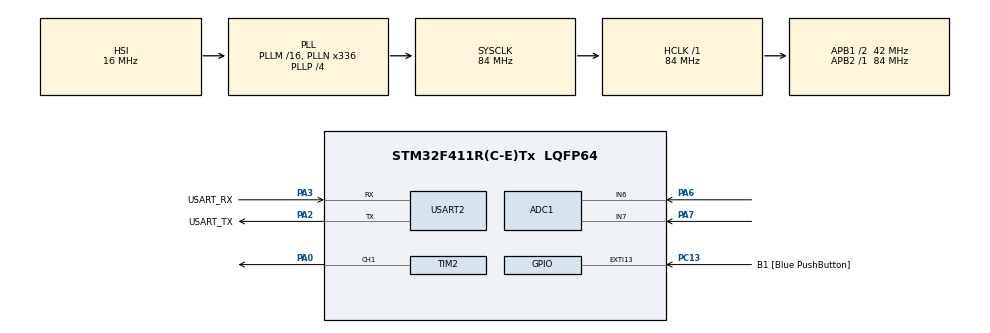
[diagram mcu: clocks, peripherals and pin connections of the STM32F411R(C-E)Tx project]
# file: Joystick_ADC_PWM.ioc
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ADC1.Channel-0\#ChannelRegularConversion=ADC_CHANNEL_6
ADC1.Channel-1\#ChannelRegularConversion=ADC_CHANNEL_7
ADC1.DiscontinuousConvMode=ENABLE
ADC1.NbrOfConversion=2
ADC1.NbrOfConversionFlag=1
ADC1.Rank-0\#ChannelRegularConversion=1
ADC1.Rank-1\#ChannelRegularConversion=2
ADC1.SamplingTime-0\#ChannelRegularConversion=ADC_SAMPLETIME_144CYCLES
ADC1.SamplingTime-1\#ChannelRegularConversion=ADC_SAMPLETIME_144CYCLES
ADC1.ScanConvMode=ENABLE
ADC1.master=1
Mcu.Family=STM32F4
Mcu.Name=STM32F411R(C-E)Tx
Mcu.Package=LQFP64
NVIC.PriorityGroup=NVIC_PRIORITYGROUP_0
NVIC.TIM2_IRQn=true\:0\:0\:false\:false\:true\:true\:true\:true
PA0-WKUP.Signal=S_TIM2_CH1_ETR
PA13.GPIO_Label=TMS
PA13.Signal=SYS_JTMS-SWDIO
PA14.GPIO_Label=TCK
PA14.Signal=SYS_JTCK-SWCLK
PA2.GPIO_Label=USART_TX
PA2.Mode=Asynchronous
PA2.Signal=USART2_TX
PA3.GPIO_Label=USART_RX
PA3.Mode=Asynchronous
PA3.Signal=USART2_RX
PA6.Signal=ADCx_IN6
PA7.Signal=ADCx_IN7
PB3.GPIO_Label=SWO
PB3.Signal=SYS_JTDO-SWO
PC13-ANTI_TAMP.GPIO_Label=B1 [Blue PushButton]
PC13-ANTI_TAMP.GPIO_ModeDefaultEXTI=GPIO_MODE_IT_FALLING
PC13-ANTI_TAMP.Signal=GPXTI13
PC14-OSC32_IN.Signal=RCC_OSC32_IN
PC15-OSC32_OUT.Signal=RCC_OSC32_OUT
PH0\ -\ OSC_IN.Signal=RCC_OSC_IN
PH1\ -\ OSC_OUT.Signal=RCC_OSC_OUT
ProjectManager.HeapSize=0x200
ProjectManager.StackSize=0x400
ProjectManager.TargetToolchain=STM32CubeIDE
RCC.48MHZClocksFreq_Value=84000000
RCC.AHBFreq_Value=84000000
RCC.APB1CLKDivider=RCC_HCLK_DIV2
RCC.APB1Freq_Value=42000000
RCC.APB1TimFreq_Value=84000000
RCC.APB2Freq_Value=84000000
RCC.APB2TimFreq_Value=84000000
RCC.CortexFreq_Value=84000000
RCC.FLatency-AdvancedSettings=FLASH_LATENCY_2
RCC.HCLKFreq_Value=84000000
RCC.HSE_VALUE=8000000
RCC.HSI_VALUE=16000000
RCC.LSE_VALUE=32768
RCC.PLLN=336
RCC.PLLP=RCC_PLLP_DIV4
RCC.SYSCLKFreq_VALUE=84000000
RCC.SYSCLKSource=RCC_SYSCLKSOURCE_PLLCLK
RCC.VCOOutputFreq_Value=336000000
SH.ADCx_IN6.0=ADC1_IN6,IN6
SH.ADCx_IN7.0=ADC1_IN7,IN7
SH.S_TIM2_CH1_ETR.0=TIM2_CH1,PWM Generation1 CH1
TIM2.Channel-PWM\ Generation1\ CH1=TIM_CHANNEL_1
TIM2.Period=4095
USART2.VirtualMode=VM_ASYNC
VP_TIM2_VS_ClockSourceINT.Mode=Internal
board=NUCLEO-F411RE

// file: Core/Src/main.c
/* USER CODE BEGIN Header */
/**
  ******************************************************************************
  * @file           : main.c
  * @brief          : Main program body
  ******************************************************************************
  * @attention
  *
  * Copyright (c) 2022 STMicroelectronics.
  * All rights reserved.
  *
  * This software is licensed under terms that can be found in the LICENSE file
  * in the root directory of this software component.
  * If no LICENSE file comes with this software, it is provided AS-IS.
  *
  ******************************************************************************
  */
/* USER CODE END Header */
#include "main.h"

/* USER CODE BEGIN Includes */
#include <stdio.h>
/* USER CODE END Includes */

ADC_HandleTypeDef hadc1;

TIM_HandleTypeDef htim2;

UART_HandleTypeDef huart2;

void SystemClock_Config(void);
static void MX_GPIO_Init(void);
static void MX_ADC1_Init(void);
static void MX_TIM2_Init(void);
static void MX_USART2_UART_Init(void);
/* USER CODE BEGIN PFP */
#ifdef __GNUC__
#define PUTCHAR_PROTOTYPE int __io_putchar(int ch)
#else
#define PUTCHAR_PROTOTYPE int fputc(int ch, FILE *f)
#endif

/**
 * @brief Retargets the C library printf function to the USART
 * @param None
 * @retval None
 */
PUTCHAR_PROTOTYPE{
	if (ch == '\n') HAL_UART_Transmit(&huart2, (uint8_t*)"\r", 1, 0xFFFF);
	HAL_UART_Transmit(&huart2, (uint8_t*)&ch, 1, 0xFFFF);
	return ch;
}
/* USER CODE END PFP */

int main(void)
{

  /* MCU Configuration--------------------------------------------------------*/

  /* Reset of all peripherals, Initializes the Flash interface and the Systick. */
  HAL_Init();

  /* USER CODE BEGIN Init */
  uint16_t JoyStick_XY[2] = {0,};
  /* USER CODE END Init */

  /* Configure the system clock */
  SystemClock_Config();

  /* Initialize all configured peripherals */
  MX_GPIO_Init();
  MX_ADC1_Init();
  MX_TIM2_Init();
  MX_USART2_UART_Init();
  /* USER CODE BEGIN 2 */
  // PWM Start
  HAL_TIM_PWM_Start(&htim2, TIM_CHANNEL_1);
  /* USER CODE END 2 */

  /* Infinite loop */
  while (1)
  {

    /* USER CODE BEGIN 3 */

		// ADC regular channel -> Joystick X value
		HAL_ADC_Start(&hadc1);
		HAL_ADC_PollForConversion(&hadc1, HAL_MAX_DELAY);
		JoyStick_XY[0] = HAL_ADC_GetValue(&hadc1);

		// ADC regular channel -> Joystick Y value
		HAL_ADC_Start(&hadc1);
		HAL_ADC_PollForConversion(&hadc1, HAL_MAX_DELAY);
		JoyStick_XY[1] = HAL_ADC_GetValue(&hadc1);

		// Joystick X value -> Motor PWM control
		TIM2->CCR1 = JoyStick_XY[0];

		// print value
		printf("%d, %d\r\n", JoyStick_XY[0], JoyStick_XY[1]);
		HAL_Delay(10);

  }
  /* USER CODE END 3 */
}

void SystemClock_Config(void)
{
  RCC_OscInitTypeDef RCC_OscInitStruct = {0};
  RCC_ClkInitTypeDef RCC_ClkInitStruct = {0};

  /** Configure the main internal regulator output voltage
  */
  __HAL_RCC_PWR_CLK_ENABLE();
  __HAL_PWR_VOLTAGESCALING_CONFIG(PWR_REGULATOR_VOLTAGE_SCALE1);

  /** Initializes the RCC Oscillators according to the specified parameters
  * in the RCC_OscInitTypeDef structure.
  */
  RCC_OscInitStruct.OscillatorType = RCC_OSCILLATORTYPE_HSI;
  RCC_OscInitStruct.HSIState = RCC_HSI_ON;
  RCC_OscInitStruct.HSICalibrationValue = RCC_HSICALIBRATION_DEFAULT;
  RCC_OscInitStruct.PLL.PLLState = RCC_PLL_ON;
  RCC_OscInitStruct.PLL.PLLSource = RCC_PLLSOURCE_HSI;
  RCC_OscInitStruct.PLL.PLLM = 16;
  RCC_OscInitStruct.PLL.PLLN = 336;
  RCC_OscInitStruct.PLL.PLLP = RCC_PLLP_DIV4;
  RCC_OscInitStruct.PLL.PLLQ = 4;
  if (HAL_RCC_OscConfig(&RCC_OscInitStruct) != HAL_OK)
  {
    Error_Handler();
  }

  /** Initializes the CPU, AHB and APB buses clocks
  */
  RCC_ClkInitStruct.ClockType = RCC_CLOCKTYPE_HCLK|RCC_CLOCKTYPE_SYSCLK
                              |RCC_CLOCKTYPE_PCLK1|RCC_CLOCKTYPE_PCLK2;
  RCC_ClkInitStruct.SYSCLKSource = RCC_SYSCLKSOURCE_PLLCLK;
  RCC_ClkInitStruct.AHBCLKDivider = RCC_SYSCLK_DIV1;
  RCC_ClkInitStruct.APB1CLKDivider = RCC_HCLK_DIV2;
  RCC_ClkInitStruct.APB2CLKDivider = RCC_HCLK_DIV1;

  if (HAL_RCC_ClockConfig(&RCC_ClkInitStruct, FLASH_LATENCY_2) != HAL_OK)
  {
    Error_Handler();
  }
}

static void MX_ADC1_Init(void)
{

  ADC_ChannelConfTypeDef sConfig = {0};

  /** Configure the global features of the ADC (Clock, Resolution, Data Alignment and number of conversion)
  */
  hadc1.Instance = ADC1;
  hadc1.Init.ClockPrescaler = ADC_CLOCK_SYNC_PCLK_DIV4;
  hadc1.Init.Resolution = ADC_RESOLUTION_12B;
  hadc1.Init.ScanConvMode = ENABLE;
  hadc1.Init.ContinuousConvMode = DISABLE;
  hadc1.Init.DiscontinuousConvMode = ENABLE;
  hadc1.Init.NbrOfDiscConversion = 1;
  hadc1.Init.ExternalTrigConvEdge = ADC_EXTERNALTRIGCONVEDGE_NONE;
  hadc1.Init.ExternalTrigConv = ADC_SOFTWARE_START;
  hadc1.Init.DataAlign = ADC_DATAALIGN_RIGHT;
  hadc1.Init.NbrOfConversion = 2;
  hadc1.Init.DMAContinuousRequests = DISABLE;
  hadc1.Init.EOCSelection = ADC_EOC_SINGLE_CONV;
  if (HAL_ADC_Init(&hadc1) != HAL_OK)
  {
    Error_Handler();
  }

  /** Configure for the selected ADC regular channel its corresponding rank in the sequencer and its sample time.
  */
  sConfig.Channel = ADC_CHANNEL_6;
  sConfig.Rank = 1;
  sConfig.SamplingTime = ADC_SAMPLETIME_144CYCLES;
  if (HAL_ADC_ConfigChannel(&hadc1, &sConfig) != HAL_OK)
  {
    Error_Handler();
  }

  /** Configure for the selected ADC regular channel its corresponding rank in the sequencer and its sample time.
  */
  sConfig.Channel = ADC_CHANNEL_7;
  sConfig.Rank = 2;
  if (HAL_ADC_ConfigChannel(&hadc1, &sConfig) != HAL_OK)
  {
    Error_Handler();
  }

}

static void MX_TIM2_Init(void)
{

  TIM_ClockConfigTypeDef sClockSourceConfig = {0};
  TIM_MasterConfigTypeDef sMasterConfig = {0};
  TIM_OC_InitTypeDef sConfigOC = {0};

  htim2.Instance = TIM2;
  htim2.Init.Prescaler = 0;
  htim2.Init.CounterMode = TIM_COUNTERMODE_UP;
  htim2.Init.Period = 4095;
  htim2.Init.ClockDivision = TIM_CLOCKDIVISION_DIV1;
  htim2.Init.AutoReloadPreload = TIM_AUTORELOAD_PRELOAD_DISABLE;
  if (HAL_TIM_Base_Init(&htim2) != HAL_OK)
  {
    Error_Handler();
  }
  sClockSourceConfig.ClockSource = TIM_CLOCKSOURCE_INTERNAL;
  if (HAL_TIM_ConfigClockSource(&htim2, &sClockSourceConfig) != HAL_OK)
  {
    Error_Handler();
  }
  if (HAL_TIM_PWM_Init(&htim2) != HAL_OK)
  {
    Error_Handler();
  }
  sMasterConfig.MasterOutputTrigger = TIM_TRGO_RESET;
  sMasterConfig.MasterSlaveMode = TIM_MASTERSLAVEMODE_DISABLE;
  if (HAL_TIMEx_MasterConfigSynchronization(&htim2, &sMasterConfig) != HAL_OK)
  {
    Error_Handler();
  }
  sConfigOC.OCMode = TIM_OCMODE_PWM1;
  sConfigOC.Pulse = 0;
  sConfigOC.OCPolarity = TIM_OCPOLARITY_HIGH;
  sConfigOC.OCFastMode = TIM_OCFAST_DISABLE;
  if (HAL_TIM_PWM_ConfigChannel(&htim2, &sConfigOC, TIM_CHANNEL_1) != HAL_OK)
  {
    Error_Handler();
  }
  HAL_TIM_MspPostInit(&htim2);

}

static void MX_USART2_UART_Init(void)
{

  huart2.Instance = USART2;
  huart2.Init.BaudRate = 115200;
  huart2.Init.WordLength = UART_WORDLENGTH_8B;
  huart2.Init.StopBits = UART_STOPBITS_1;
  huart2.Init.Parity = UART_PARITY_NONE;
  huart2.Init.Mode = UART_MODE_TX_RX;
  huart2.Init.HwFlowCtl = UART_HWCONTROL_NONE;
  huart2.Init.OverSampling = UART_OVERSAMPLING_16;
  if (HAL_UART_Init(&huart2) != HAL_OK)
  {
    Error_Handler();
  }

}

static void MX_GPIO_Init(void)
{
  GPIO_InitTypeDef GPIO_InitStruct = {0};

  /* GPIO Ports Clock Enable */
  __HAL_RCC_GPIOC_CLK_ENABLE();
  __HAL_RCC_GPIOH_CLK_ENABLE();
  __HAL_RCC_GPIOA_CLK_ENABLE();
  __HAL_RCC_GPIOB_CLK_ENABLE();

  /*Configure GPIO pin : B1_Pin */
  GPIO_InitStruct.Pin = B1_Pin;
  GPIO_InitStruct.Mode = GPIO_MODE_IT_FALLING;
  GPIO_InitStruct.Pull = GPIO_NOPULL;
  HAL_GPIO_Init(B1_GPIO_Port, &GPIO_InitStruct);

}

void Error_Handler(void)
{
  __disable_irq();
  while (1)
  {
  }
}
